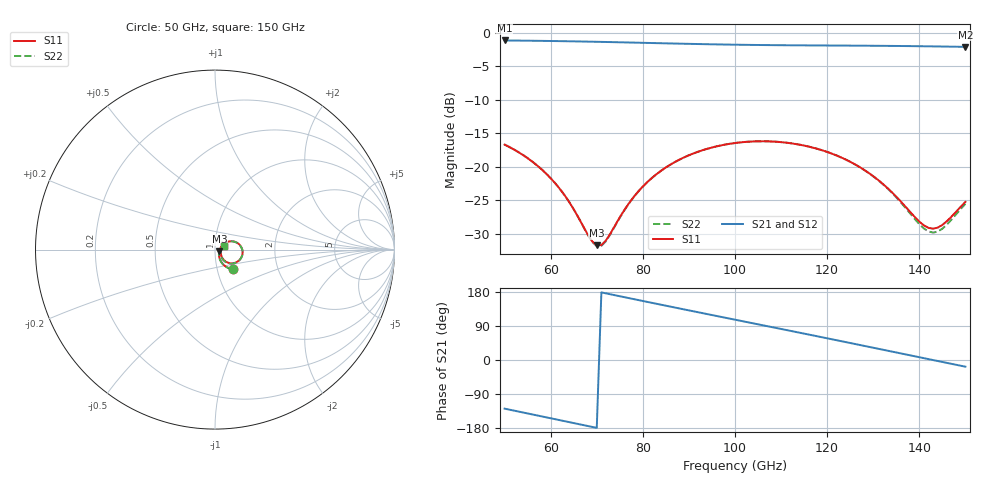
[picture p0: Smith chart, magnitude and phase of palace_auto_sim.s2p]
#  GHZ S DB R 50
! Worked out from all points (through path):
!   101 points, 50 GHz to 150 GHz, reference 50 ohm
!   highest |S21| = -1.13 dB at 50 GHz (marker M1); lowest = -2.1 dB at 150 GHz (marker M2)
!   group delay of S21, straight-line fit = 6.9 ps
!   lowest |S11| = -31.8 dB at 70 GHz (marker M3), VSWR 1.05, Z = 52.5 - j0.945 ohm
!   |S11| at or under -10 dB: start of sweep to end of sweep
!   |S22| runs from -31.9 to -16.2 dB; largest |S21 - S12| = 9.3e-14
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50  -16.70 -47.7  -1.13 -128.4  -1.13 -128.4  -16.69 -48.1
55  -18.73 -56.5  -1.17 -141.1  -1.17 -141.1  -18.71 -56.9
60  -21.72 -62.5  -1.21 -153.8  -1.21 -153.8  -21.71 -63.1
64  -25.26 -61.9  -1.25 -163.9  -1.25 -163.9  -25.25 -62.6
67  -28.83 -51.7  -1.29 -171.5  -1.29 -171.5  -28.85 -52.6
69  -31.15 -33.7  -1.32 -176.6  -1.32 -176.6  -31.23 -34.6
70  -31.77 -20.4  -1.33 -179.1  -1.33 -179.1  -31.87 -21.2
71  -31.71 -6.2  -1.34 178.4  -1.34 178.4  -31.83 -6.8
72  -31.01 6.4  -1.36 175.8  -1.36 175.8  -31.12 6.0
76  -26.45 30.3  -1.42 165.8  -1.42 165.8  -26.50 30.2
79  -23.70 33.1  -1.47 158.2  -1.47 158.2  -23.73 33.0
84  -20.58 29.4  -1.55 145.8  -1.55 145.8  -20.59 29.1
92  -17.76 16.8  -1.66 126.0  -1.66 126.0  -17.75 16.4
100  -16.46 2.0  -1.76 106.4  -1.76 106.4  -16.46 1.4
108  -16.23 -13.4  -1.83 86.8  -1.83 86.8  -16.22 -14.1
117  -17.17 -30.3  -1.87 64.7  -1.87 64.7  -17.16 -31.2
126  -19.63 -44.7  -1.91 42.4  -1.91 42.4  -19.64 -46.1
134  -23.78 -49.3  -1.95 22.4  -1.95 22.4  -23.86 -51.6
140  -28.19 -32.4  -1.99 7.3  -1.99 7.3  -28.57 -35.2
143  -29.26 -10.5  -2.02 -0.2  -2.02 -0.2  -29.84 -11.8
145  -28.70 4.7  -2.04 -5.2  -2.04 -5.2  -29.26 4.8
150  -25.26 24.5  -2.09 -17.7  -2.09 -17.7  -25.55 25.6
